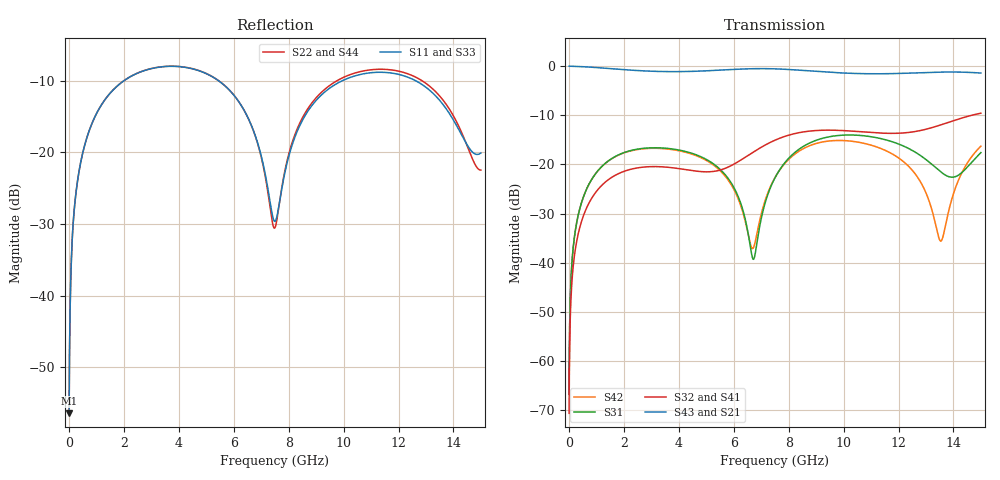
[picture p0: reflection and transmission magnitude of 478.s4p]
! Created with skrf 1.8.0 (http://scikit-rf.org).
# GHz S RI R 50.0
!freq ReS11 ImS11 ReS12 ImS12 ReS13 ImS13
! ReS14 ImS14
! ReS21 ImS21 ReS22 ImS22 ReS23 ImS23
! ReS24 ImS24
! ReS31 ImS31 ReS32 ImS32 ReS33 ImS33
! ReS34 ImS34
! ReS41 ImS41 ReS42 ImS42 ReS43 ImS43
! ReS44 ImS44
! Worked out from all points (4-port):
!   2499 points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, 5 MHz to 15 GHz, reference 50 ohm
!   strongest paths, dB at 5 MHz, 3.476 GHz, 7.19 GHz, 11.1 GHz, 15 GHz:
!     S43: 0.0, -1.1, -0.5, -1.6, -1.4
!     S21: 0.0, -1.1, -0.5, -1.6, -1.4
!     S32: -70.6, -20.5, -15.9, -13.5, -9.6
!     S41: -70.6, -20.5, -15.9, -13.5, -9.5
!     S31: -66.8, -16.7, -27.0, -14.5, -17.6
!     S42: -66.8, -16.8, -26.6, -16.2, -16.3
!   lowest |S11| = -56.4 dB at 5 MHz (marker M1), VSWR 1.00, Z = 50.1 + j0.0922 ohm
!   |S11| at or under -10 dB: start of sweep to 2.009 GHz; 5.438 GHz to 9.963 GHz (4.525 GHz wide, 58.8 % of centre); 12.61 GHz to end of sweep
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0.005  0.0012 0.000919  0.9988 -0.00235  5.86e-05 0.000455  -5.71e-05 -0.000288
       0.9988 -0.00235  0.0012 0.000919  -5.71e-05 -0.000288  5.86e-05 0.000455
       5.86e-05 0.000455  -5.71e-05 -0.000288  0.0012 0.000919  0.9988 -0.00235
       -5.71e-05 -0.000288  5.86e-05 0.000455  0.9988 -0.00235  0.0012 0.000919
0.4126719  0.0217 0.0795  0.97 -0.1923  0.00991 0.0358  -0.00818 -0.0224
           0.97 -0.1923  0.0217 0.0795  -0.00818 -0.0224  0.00969 0.0358
           0.00991 0.0358  -0.00818 -0.0224  0.0217 0.0795  0.97 -0.1923
           -0.00818 -0.0224  0.00969 0.0358  0.97 -0.1923  0.0217 0.0795
1.975823  0.2495 0.1889  0.5934 -0.7053  0.1157 0.0614  -0.0835 -0.0131
          0.5934 -0.7053  0.2505 0.1882  -0.0834 -0.0132  0.113 0.0647
          0.1157 0.0614  -0.0834 -0.0132  0.2495 0.1888  0.5934 -0.7053
          -0.0835 -0.0131  0.113 0.0647  0.5934 -0.7053  0.2504 0.1883
7.446853  0.0326 -0.00986  -0.9369 -0.0625  0.00805 0.0677  -0.00657 0.1734
          -0.9369 -0.0625  0.0292 -0.00771  -0.00838 0.1733  -0.00505 0.0687
          0.00805 0.0677  -0.00838 0.1733  0.0318 -0.00884  -0.9369 -0.0626
          -0.00657 0.1734  -0.00505 0.0687  -0.9369 -0.0626  0.0299 -0.00688
10.61067  0.3397 0.0791  -0.2858 0.7886  0.1891 -0.0558  0.2157 0.00275
          -0.2858 0.7886  0.3583 0.0714  0.215 0.00558  0.1669 0.00223
          0.1891 -0.0558  0.215 0.00558  0.3386 0.0808  -0.2869 0.7887
          0.2157 0.00275  0.1669 0.00223  -0.2869 0.7887  0.3571 0.0698
13.53689  0.1795 -0.1369  0.6297 0.5975  -0.0553 -0.0633  0.1669 -0.1894
          0.6297 0.5975  0.1746 -0.1678  0.1699 -0.1864  -0.014 -0.00885
          -0.0553 -0.0633  0.1699 -0.1864  0.1799 -0.1309  0.63 0.5987
          0.1669 -0.1894  -0.014 -0.00885  0.63 0.5987  0.1686 -0.1676
15  0.0988 0.00474  0.8451 0.096  -0.0181 0.1305  0.0265 -0.3321
    0.8451 0.096  0.0745 -0.0103  0.0315 -0.3305  0.0128 0.1527
    -0.0181 0.1305  0.0315 -0.3305  0.1043 0.0113  0.845 0.0968
    0.0265 -0.3321  0.0128 0.1527  0.845 0.0968  0.0676 -0.0067
